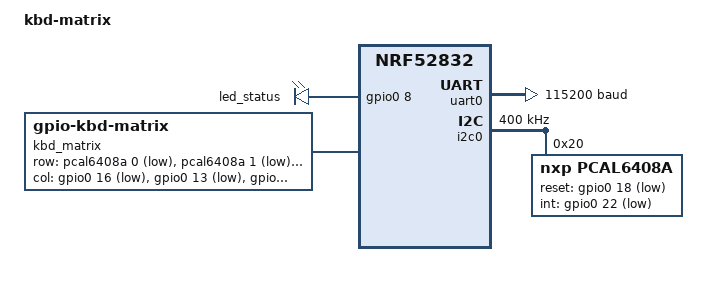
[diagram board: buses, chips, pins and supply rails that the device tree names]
/dts-v1/;
#include <nordic/nrf52832_qfaa.dtsi>
#include <zephyr/dt-bindings/input/input-event-codes.h>
#include <zephyr/dt-bindings/input/keymap.h>
#include <dt-bindings/hid.h>
#include "kbd_matrix-pinctrl.dtsi"

/ {
	model = "kbd-matrix";
	compatible = "balto,kbd-matrix";

	chosen {
		zephyr,console = &uart0;
		zephyr,shell-uart = &uart0;
		zephyr,uart-mcumgr = &uart0;
		zephyr,sram = &sram0;
		zephyr,flash = &flash0;
		zephyr,code-partition = &slot0_partition;
	};

	leds {
		compatible = "gpio-leds";
		led_status: led_a {
			gpios = <&gpio0 8 GPIO_ACTIVE_HIGH>;
		};
	};

	kbd_matrix: kbd-matrix {
		compatible = "gpio-kbd-matrix";
		/*
		row-gpios = <&gpio0 14 (GPIO_PULL_UP | GPIO_ACTIVE_LOW)>,
			    <&gpio0 17 (GPIO_PULL_UP | GPIO_ACTIVE_LOW)>,
			    <&gpio0 15 (GPIO_PULL_UP | GPIO_ACTIVE_LOW)>,
			    <&gpio0 11 (GPIO_PULL_UP | GPIO_ACTIVE_LOW)>,
			    <&gpio0  9 (GPIO_PULL_UP | GPIO_ACTIVE_LOW)>;
		*/
		row-gpios = <&pcal6408a 0 (GPIO_PULL_UP | GPIO_ACTIVE_LOW)>,
			    <&pcal6408a 1 (GPIO_PULL_UP | GPIO_ACTIVE_LOW)>,
			    <&pcal6408a 2 (GPIO_PULL_UP | GPIO_ACTIVE_LOW)>,
			    <&pcal6408a 3 (GPIO_PULL_UP | GPIO_ACTIVE_LOW)>,
			    <&pcal6408a 4 (GPIO_PULL_UP | GPIO_ACTIVE_LOW)>;
		col-gpios = <&gpio0 16 GPIO_ACTIVE_LOW>,
			    <&gpio0 13 GPIO_ACTIVE_LOW>,
			    <&gpio0 12 GPIO_ACTIVE_LOW>,
			    <&gpio0 10 GPIO_ACTIVE_LOW>;
		col-drive-inactive;
		//idle-mode = "poll";
		//idle-mode = "scan";
		//poll-timeout-ms = <0>;
		no-ghostkey-check;

		keymap: keymap {
			compatible = "input-keymap";
			keymap = <
				MATRIX_KEY(0, 0, INPUT_KEY_A)
				MATRIX_KEY(0, 1, INPUT_KEY_B)
				MATRIX_KEY(0, 2, INPUT_KEY_C)
				MATRIX_KEY(0, 3, INPUT_KEY_D)

				MATRIX_KEY(1, 0, INPUT_KEY_E)
				MATRIX_KEY(1, 1, INPUT_KEY_F)
				MATRIX_KEY(1, 2, INPUT_KEY_G)
				MATRIX_KEY(1, 3, INPUT_KEY_H)

				MATRIX_KEY(2, 0, INPUT_KEY_I)
				MATRIX_KEY(2, 1, INPUT_KEY_J)
				MATRIX_KEY(2, 2, INPUT_KEY_K)
				MATRIX_KEY(2, 3, INPUT_KEY_L)

				MATRIX_KEY(3, 0, INPUT_KEY_M)
				MATRIX_KEY(3, 1, INPUT_KEY_N)
				MATRIX_KEY(3, 2, INPUT_KEY_O)
				MATRIX_KEY(3, 3, INPUT_KEY_P)

				MATRIX_KEY(4, 0, INPUT_KEY_LEFTMETA)
				MATRIX_KEY(4, 1, INPUT_KEY_LEFTCTRL)
				MATRIX_KEY(4, 2, INPUT_KEY_LEFTALT)
				MATRIX_KEY(4, 3, INPUT_KEY_LEFTSHIFT)
			>;
			row-size = <5>;
			col-size = <4>;
		};
	};

	hid {
		compatible = "hid";
		input {
			hid-kbd {
				compatible = "hid-kbd";
				input = <&keymap>;
				input-id = <1>;
				report = <HID_KBD_REPORT(1, 0)>;
			};
		};
		output {
			hid-hog {
				compatible = "hid-hog";
			};
		};
	};

	ble-unpair {
		input = <&keymap>;
		compatible = "ble-unpair";
		key-a = <INPUT_KEY_A>;
		key-b = <INPUT_KEY_LEFTSHIFT>;
	};

	pm-control {
		compatible = "pm-control";
		connect-on = <&kbd_matrix>;
	};
};

&uicr {
	nfct-pins-as-gpios;
};

&reg {
	regulator-initial-mode = <NRF5X_REG_MODE_DCDC>;
};

&gpiote {
	status = "okay";
};

&gpio0 {
	status = "okay";
	sense-edge-mask = <0xffffffff>;
};

&uart0 {
	status = "okay";
	compatible = "nordic,nrf-uarte";
	current-speed = <115200>;
	pinctrl-0 = <&uart0_default>;
	pinctrl-1 = <&uart0_sleep>;
	pinctrl-names = "default", "sleep";
};

&i2c0 {
	status = "okay";
	clock-frequency = <I2C_BITRATE_FAST>;
	pinctrl-0 = <&i2c0_default>;
	pinctrl-1 = <&i2c0_sleep>;
	pinctrl-names = "default", "sleep";

	pcal6408a: pcal6408a@20 {
		compatible = "nxp,pcal6408a";
		status = "okay";
		reg = <0x20>;
		gpio-controller;
		#gpio-cells = <2>;
		ngpios = <8>;
		reset-gpios = <&gpio0 18 GPIO_ACTIVE_LOW>;
		int-gpios = <&gpio0 22 (GPIO_PULL_UP | GPIO_ACTIVE_LOW)>;
	};
};

&flash0 {
	partitions {
		compatible = "fixed-partitions";
		#address-cells = <1>;
		#size-cells = <1>;

		boot_partition: partition@0 {
			label = "mcuboot";
			reg = <0x00000000 0x8000>;
		};
		slot0_partition: partition@8000 {
			label = "image-0";
			reg = <0x00008000 0x3a000>;
		};
		slot1_partition: partition@42000 {
			label = "image-1";
			reg = <0x00042000 0x3a000>;
		};
		storage_partition: partition@7c000 {
			label = "storage";
			reg = <0x0007c000 0x00004000>;
		};
	};
};
